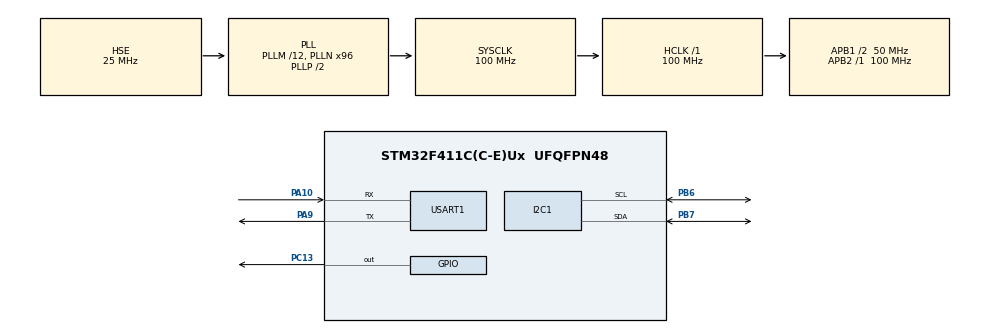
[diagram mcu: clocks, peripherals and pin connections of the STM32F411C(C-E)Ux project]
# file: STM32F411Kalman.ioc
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Dma.Request0=USART1_TX
Dma.USART1_TX.0.Direction=DMA_MEMORY_TO_PERIPH
Dma.USART1_TX.0.FIFOMode=DMA_FIFOMODE_DISABLE
Dma.USART1_TX.0.Instance=DMA2_Stream7
Dma.USART1_TX.0.MemDataAlignment=DMA_MDATAALIGN_BYTE
Dma.USART1_TX.0.MemInc=DMA_MINC_ENABLE
Dma.USART1_TX.0.Mode=DMA_NORMAL
Dma.USART1_TX.0.PeriphDataAlignment=DMA_PDATAALIGN_BYTE
Dma.USART1_TX.0.PeriphInc=DMA_PINC_DISABLE
Dma.USART1_TX.0.Priority=DMA_PRIORITY_LOW
I2C1.I2C_Mode=I2C_Fast
Mcu.Family=STM32F4
Mcu.Name=STM32F411C(C-E)Ux
Mcu.Package=UFQFPN48
NVIC.DMA2_Stream7_IRQn=true\:0\:0\:false\:false\:true\:false\:true\:true
NVIC.PriorityGroup=NVIC_PRIORITYGROUP_4
NVIC.TIM2_IRQn=true\:0\:0\:false\:false\:true\:true\:true\:true
NVIC.USART1_IRQn=true\:0\:0\:false\:false\:true\:false\:true\:true
PA10.Mode=Asynchronous
PA10.Signal=USART1_RX
PA13.Mode=Serial_Wire
PA13.Signal=SYS_JTMS-SWDIO
PA14.Mode=Serial_Wire
PA14.Signal=SYS_JTCK-SWCLK
PA9.Mode=Asynchronous
PA9.Signal=USART1_TX
PB6.Mode=I2C
PB6.Signal=I2C1_SCL
PB7.Mode=I2C
PB7.Signal=I2C1_SDA
PC13-ANTI_TAMP.Signal=GPIO_Output
PH0\ -\ OSC_IN.Mode=HSE-External-Oscillator
PH0\ -\ OSC_IN.Signal=RCC_OSC_IN
PH1\ -\ OSC_OUT.Mode=HSE-External-Oscillator
PH1\ -\ OSC_OUT.Signal=RCC_OSC_OUT
ProjectManager.HeapSize=0x200
ProjectManager.StackSize=0x400
ProjectManager.TargetToolchain=CMake
RCC.48MHZClocksFreq_Value=50000000
RCC.AHBFreq_Value=100000000
RCC.APB1CLKDivider=RCC_HCLK_DIV2
RCC.APB1Freq_Value=50000000
RCC.APB1TimFreq_Value=100000000
RCC.APB2Freq_Value=100000000
RCC.APB2TimFreq_Value=100000000
RCC.CortexFreq_Value=100000000
RCC.HCLKFreq_Value=100000000
RCC.HSE_VALUE=25000000
RCC.HSI_VALUE=16000000
RCC.LSE_VALUE=32768
RCC.PLLM=12
RCC.PLLN=96
RCC.PLLSourceVirtual=RCC_PLLSOURCE_HSE
RCC.SYSCLKFreq_VALUE=100000000
RCC.SYSCLKSource=RCC_SYSCLKSOURCE_PLLCLK
RCC.VCOOutputFreq_Value=200000000
TIM2.Prescaler=99
USART1.VirtualMode=VM_ASYNC
VP_TIM2_VS_ClockSourceINT.Mode=Internal
board=custom

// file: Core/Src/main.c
/* USER CODE BEGIN Header */
/**
  ******************************************************************************
  * @file           : main.c
  * @brief          : STM32F411 + MPU6500 姿態估測(二狀態卡爾曼濾波)
  *
  * 修正版重點(全部改在 USER CODE 區塊內,CubeMX 重新產生不會被覆蓋):
  *   [1] 開機檢查 WHO_AM_I,讀錯就停住並快閃 LED
  *   [2] 感測器重置、改用陀螺儀 PLL 時脈、設定量程與數位低通濾波
  *   [3] 校準只用成功讀到的樣本來平均
  *   [4] 讀取失敗時,累積 dt 到下一次成功,並計數錯誤
  *   [5] 用第一筆加速度計角度初始化濾波器
  *   [6] 創新量與角度包裹在 ±180 度
  *   [7] 用 DWT 週期計數器取得微秒級 dt,並量測濾波執行時間
  *   [8] UART 輸出 CSV(整數 milli 單位,不需要浮點 printf)
  *   [9] LED 心跳改用獨立時間戳
  ******************************************************************************
  */
/* USER CODE END Header */
#include "main.h"
#include "dma.h"
#include "i2c.h"
#include "tim.h"
#include "usart.h"
#include "gpio.h"

/* USER CODE BEGIN Includes */
#include <stdio.h>
#include <string.h>
#include <math.h>
#include <stdint.h>
#include <stdbool.h>
/* USER CODE END Includes */

/* USER CODE BEGIN PTD */
typedef struct {
    float angle;      // 估測角度 (deg)
    float bias;       // 估測的陀螺儀零偏 (deg/s)
    float rate;       // 扣除零偏後的角速度 (deg/s)
    float P[2][2];    // 估測誤差協方差
    float Q_angle;    // 角度過程雜訊
    float Q_bias;     // 零偏過程雜訊
    float R_measure;  // 加速度計角度量測雜訊 (deg^2)
} Kalman_t;

typedef struct {
    int16_t ax, ay, az;
    int16_t gx, gy, gz;
} MPU_Raw_t;
/* USER CODE END PTD */

/* USER CODE BEGIN PD */
#define MPU_ADDR               (0x68 << 1)
#define MPU_REG_SMPLRT_DIV     0x19
#define MPU_REG_CONFIG         0x1A
#define MPU_REG_GYRO_CONFIG    0x1B
#define MPU_REG_ACCEL_CONFIG   0x1C
#define MPU_REG_ACCEL_CONFIG2  0x1D
#define MPU_REG_ACCEL_XOUT_H   0x3B
#define MPU_REG_PWR_MGMT_1     0x6B
#define MPU_REG_WHO_AM_I       0x75
#define MPU6500_WHO_AM_I_VAL   0x70   // 依 datasheet,MPU6500 回傳 0x70

#define RAD_TO_DEG             57.2957795f
#define GYRO_LSB_PER_DPS       131.0f  // ±250 dps 量程
#define LOOP_PERIOD_MS         20      // 50 Hz
#define CALIB_SAMPLES          200
/* USER CODE END PD */

/* USER CODE BEGIN PV */
static char tx_buf[160];

static Kalman_t kalmanRoll;
static Kalman_t kalmanPitch;

static float gyro_x_offset = 0.0f;   // raw LSB
static float gyro_y_offset = 0.0f;
static float acc_roll_offset = 0.0f; // deg
static float acc_pitch_offset = 0.0f;

static uint32_t i2c_errors = 0;
/* USER CODE END PV */

void SystemClock_Config(void);

/* USER CODE BEGIN 0 */

/* ---------- 小工具 ---------- */
static float wrap180(float a)                       // [6]
{
    while (a > 180.0f)  a -= 360.0f;
    while (a < -180.0f) a += 360.0f;
    return a;
}

static void UART_Print(const char *s)
{
    HAL_UART_Transmit(&huart1, (uint8_t *)s, (uint16_t)strlen(s), 100);
}

static long to_milli(float x)                       // [8] 浮點轉整數 milli 單位
{
    return (long)lroundf(x * 1000.0f);
}

static void DWT_Init(void)                          // [7]
{
    CoreDebug->DEMCR |= CoreDebug_DEMCR_TRCENA_Msk;
    DWT->CYCCNT = 0;
    DWT->CTRL |= DWT_CTRL_CYCCNTENA_Msk;
}

/* ---------- 卡爾曼濾波 ---------- */
void Kalman_Init(Kalman_t *k, float angle0)         // [5]
{
    k->angle = angle0;
    k->bias = 0.0f;
    k->rate = 0.0f;
    k->P[0][0] = 0.0f; k->P[0][1] = 0.0f;
    k->P[1][0] = 0.0f; k->P[1][1] = 0.0f;
    k->Q_angle = 0.001f;
    k->Q_bias = 0.00003f;  // 參數實驗後由 0.003 調降,見 README
    k->R_measure = 0.030f;   // 之後改成靜置量測到的變異數
}

float Kalman_GetAngle(Kalman_t *k, float newAngle, float newRate, float dt)
{
    // 步驟 1:狀態預測
    k->rate = newRate - k->bias;
    k->angle += dt * k->rate;

    // 步驟 2:協方差預測 P = F P F^T + Q
    k->P[0][0] += dt * (dt * k->P[1][1] - k->P[0][1] - k->P[1][0] + k->Q_angle);
    k->P[0][1] -= dt * k->P[1][1];
    k->P[1][0] -= dt * k->P[1][1];
    k->P[1][1] += k->Q_bias * dt;

    // 步驟 3:卡爾曼增益
    float S = k->P[0][0] + k->R_measure;
    float K0 = k->P[0][0] / S;
    float K1 = k->P[1][0] / S;

    // 步驟 4:狀態更新(創新量包裹在 ±180,避免翻越 180 度時跳變) [6]
    float y = wrap180(newAngle - k->angle);
    k->angle = wrap180(k->angle + K0 * y);
    k->bias += K1 * y;

    // 步驟 5:協方差更新 P = (I - K H) P
    float P00 = k->P[0][0];
    float P01 = k->P[0][1];
    k->P[0][0] -= K0 * P00;
    k->P[0][1] -= K0 * P01;
    k->P[1][0] -= K1 * P00;
    k->P[1][1] -= K1 * P01;

    return k->angle;
}

/* ---------- MPU6500 ---------- */
static HAL_StatusTypeDef MPU_Write(uint8_t reg, uint8_t val)
{
    return HAL_I2C_Mem_Write(&hi2c1, MPU_ADDR, reg, 1, &val, 1, 100);
}

// 回傳 true 表示初始化成功;who 回傳讀到的 WHO_AM_I 值   [1][2]
static bool MPU_Init(uint8_t *who)
{
    *who = 0;
    if (HAL_I2C_Mem_Read(&hi2c1, MPU_ADDR, MPU_REG_WHO_AM_I, 1, who, 1, 100) != HAL_OK)
        return false;
    if (*who != MPU6500_WHO_AM_I_VAL)
        return false;

    bool ok = true;
    ok &= MPU_Write(MPU_REG_PWR_MGMT_1, 0x80) == HAL_OK;   // 重置
    HAL_Delay(100);
    ok &= MPU_Write(MPU_REG_PWR_MGMT_1, 0x01) == HAL_OK;   // 喚醒,自動選陀螺儀 PLL 時脈
    HAL_Delay(50);
    ok &= MPU_Write(MPU_REG_SMPLRT_DIV, 4) == HAL_OK;       // 1 kHz / (1+4) = 200 Hz 輸出
    ok &= MPU_Write(MPU_REG_CONFIG, 0x04) == HAL_OK;        // 陀螺儀 DLPF 約 20 Hz(對照 datasheet)
    ok &= MPU_Write(MPU_REG_GYRO_CONFIG, 0x00) == HAL_OK;   // ±250 dps
    ok &= MPU_Write(MPU_REG_ACCEL_CONFIG, 0x00) == HAL_OK;  // ±2 g
    ok &= MPU_Write(MPU_REG_ACCEL_CONFIG2, 0x04) == HAL_OK; // 加速度計 DLPF 約 20 Hz(對照 datasheet)
    HAL_Delay(50);
    return ok;
}

static bool MPU_Read(MPU_Raw_t *r)
{
    uint8_t b[14];
    if (HAL_I2C_Mem_Read(&hi2c1, MPU_ADDR, MPU_REG_ACCEL_XOUT_H, 1, b, 14, 20) != HAL_OK)
        return false;
    r->ax = (int16_t)(b[0] << 8 | b[1]);
    r->ay = (int16_t)(b[2] << 8 | b[3]);
    r->az = (int16_t)(b[4] << 8 | b[5]);
    // b[6], b[7] 是溫度
    r->gx = (int16_t)(b[8] << 8 | b[9]);
    r->gy = (int16_t)(b[10] << 8 | b[11]);
    r->gz = (int16_t)(b[12] << 8 | b[13]);
    return true;
}

static void Acc_Angles(const MPU_Raw_t *r, float *roll, float *pitch)
{
    float ax = r->ax, ay = r->ay, az = r->az;
    *roll  = atan2f(ay, az) * RAD_TO_DEG;
    *pitch = atan2f(-ax, sqrtf(ay * ay + az * az)) * RAD_TO_DEG;
}

// 只用成功讀到的樣本平均   [3]
static bool MPU_Calibrate(void)
{
    float roll_sum = 0, pitch_sum = 0, gx_sum = 0, gy_sum = 0;
    int valid = 0;
    MPU_Raw_t r;

    for (int i = 0; i < CALIB_SAMPLES; i++) {
        if (MPU_Read(&r)) {
            float roll, pitch;
            Acc_Angles(&r, &roll, &pitch);
            roll_sum += roll;
            pitch_sum += pitch;
            gx_sum += r.gx;
            gy_sum += r.gy;
            valid++;
        } else {
            i2c_errors++;
        }
        HAL_Delay(5);
    }
    if (valid < CALIB_SAMPLES / 2)
        return false;

    acc_roll_offset  = roll_sum / valid;
    acc_pitch_offset = pitch_sum / valid;
    gyro_x_offset    = gx_sum / valid;
    gyro_y_offset    = gy_sum / valid;
    return true;
}

// 無法繼續時:快閃 LED,每秒印一次原因
static void Fault_Loop(const char *msg)
{
    uint32_t last = 0;
    while (1) {
        HAL_GPIO_TogglePin(GPIOC, GPIO_PIN_13);
        if (HAL_GetTick() - last >= 1000) {
            UART_Print(msg);
            last = HAL_GetTick();
        }
        HAL_Delay(100);
    }
}
/* USER CODE END 0 */

int main(void)
{

  /* MCU Configuration--------------------------------------------------------*/

  /* Reset of all peripherals, Initializes the Flash interface and the Systick. */
  HAL_Init();

  /* Configure the system clock */
  SystemClock_Config();

  /* Initialize all configured peripherals */
  MX_GPIO_Init();
  MX_DMA_Init();
  MX_TIM2_Init();
  MX_USART1_UART_Init();
  MX_I2C1_Init();
  /* USER CODE BEGIN 2 */
  DWT_Init();
  HAL_Delay(50);

  uint8_t who = 0;
  if (!MPU_Init(&who)) {
      snprintf(tx_buf, sizeof(tx_buf), "# ERROR: MPU init failed, WHO_AM_I=0x%02X\r\n", who);
      Fault_Loop(tx_buf);
  }

  UART_Print("# calibrating, keep the board still...\r\n");
  if (!MPU_Calibrate()) {
      Fault_Loop("# ERROR: calibration failed (too many I2C errors)\r\n");
  }

  // 用第一筆加速度計角度初始化濾波器   [5]
  MPU_Raw_t raw;
  float roll0 = 0.0f, pitch0 = 0.0f;
  if (MPU_Read(&raw)) {
      Acc_Angles(&raw, &roll0, &pitch0);
      roll0 -= acc_roll_offset;
      pitch0 -= acc_pitch_offset;
  }
  Kalman_Init(&kalmanRoll, roll0);
  Kalman_Init(&kalmanPitch, pitch0);

  snprintf(tx_buf, sizeof(tx_buf), "# WHO_AM_I=0x%02X clk=%lu\r\n", who, (unsigned long)SystemCoreClock);
  UART_Print(tx_buf);
  UART_Print("t_ms,gx_mdps,gy_mdps,acc_roll_mdeg,acc_pitch_mdeg,kf_roll_mdeg,kf_pitch_mdeg,kf_ns,i2c_err\r\n");

  uint32_t last_tick = HAL_GetTick();
  uint32_t last_led  = last_tick;
  uint32_t last_cyc  = DWT->CYCCNT;
  float pending_dt   = 0.0f;
  /* USER CODE END 2 */

  /* Infinite loop */
  /* USER CODE BEGIN WHILE */
  while (1)
  {
    uint32_t now = HAL_GetTick();

    if (now - last_tick >= LOOP_PERIOD_MS) {
      last_tick = now;

      // dt 用 DWT 週期計數,解析度遠高於 1 ms   [7]
      uint32_t cyc = DWT->CYCCNT;
      pending_dt += (float)(cyc - last_cyc) / (float)SystemCoreClock;
      last_cyc = cyc;

      if (MPU_Read(&raw)) {
        float gx_rate = (raw.gx - gyro_x_offset) / GYRO_LSB_PER_DPS;
        float gy_rate = (raw.gy - gyro_y_offset) / GYRO_LSB_PER_DPS;
        float acc_roll, acc_pitch;
        Acc_Angles(&raw, &acc_roll, &acc_pitch);
        acc_roll  -= acc_roll_offset;
        acc_pitch -= acc_pitch_offset;

        // 量測兩次濾波共花多少時間   [7]
        uint32_t t0 = DWT->CYCCNT;
        float roll  = Kalman_GetAngle(&kalmanRoll,  acc_roll,  gx_rate, pending_dt);
        float pitch = Kalman_GetAngle(&kalmanPitch, acc_pitch, gy_rate, pending_dt);
        uint32_t kf_cycles = DWT->CYCCNT - t0;
        uint32_t kf_ns = (uint32_t)((uint64_t)kf_cycles * 1000000000ULL / SystemCoreClock);

        pending_dt = 0.0f;   // [4] 成功才歸零;失敗時保留,累積到下一次

        int len = snprintf(tx_buf, sizeof(tx_buf), "%lu,%ld,%ld,%ld,%ld,%ld,%ld,%lu,%lu\r\n",
                           (unsigned long)now,
                           to_milli(gx_rate), to_milli(gy_rate),
                           to_milli(acc_roll), to_milli(acc_pitch),
                           to_milli(roll), to_milli(pitch),
                           (unsigned long)kf_ns, (unsigned long)i2c_errors);
        HAL_UART_Transmit(&huart1, (uint8_t *)tx_buf, (uint16_t)len, 50);
      } else {
        i2c_errors++;   // [4]
      }
    }

    // LED 心跳:獨立時間戳,每 500 ms 翻轉一次   [9]
    if (now - last_led >= 500) {
      HAL_GPIO_TogglePin(GPIOC, GPIO_PIN_13);
      last_led = now;
    }
    /* USER CODE END WHILE */

  }
}

void SystemClock_Config(void)
{
  RCC_OscInitTypeDef RCC_OscInitStruct = {0};
  RCC_ClkInitTypeDef RCC_ClkInitStruct = {0};

  /** Configure the main internal regulator output voltage
  */
  __HAL_RCC_PWR_CLK_ENABLE();
  __HAL_PWR_VOLTAGESCALING_CONFIG(PWR_REGULATOR_VOLTAGE_SCALE1);

  /** Initializes the RCC Oscillators according to the specified parameters
  * in the RCC_OscInitTypeDef structure.
  */
  RCC_OscInitStruct.OscillatorType = RCC_OSCILLATORTYPE_HSE;
  RCC_OscInitStruct.HSEState = RCC_HSE_ON;
  RCC_OscInitStruct.PLL.PLLState = RCC_PLL_ON;
  RCC_OscInitStruct.PLL.PLLSource = RCC_PLLSOURCE_HSE;
  RCC_OscInitStruct.PLL.PLLM = 12;
  RCC_OscInitStruct.PLL.PLLN = 96;
  RCC_OscInitStruct.PLL.PLLP = RCC_PLLP_DIV2;
  RCC_OscInitStruct.PLL.PLLQ = 4;
  if (HAL_RCC_OscConfig(&RCC_OscInitStruct) != HAL_OK)
  {
    Error_Handler();
  }

  /** Initializes the CPU, AHB and APB buses clocks
  */
  RCC_ClkInitStruct.ClockType = RCC_CLOCKTYPE_HCLK|RCC_CLOCKTYPE_SYSCLK
                              |RCC_CLOCKTYPE_PCLK1|RCC_CLOCKTYPE_PCLK2;
  RCC_ClkInitStruct.SYSCLKSource = RCC_SYSCLKSOURCE_PLLCLK;
  RCC_ClkInitStruct.AHBCLKDivider = RCC_SYSCLK_DIV1;
  RCC_ClkInitStruct.APB1CLKDivider = RCC_HCLK_DIV2;
  RCC_ClkInitStruct.APB2CLKDivider = RCC_HCLK_DIV1;

  if (HAL_RCC_ClockConfig(&RCC_ClkInitStruct, FLASH_LATENCY_3) != HAL_OK)
  {
    Error_Handler();
  }
}

/* USER CODE BEGIN 4 */
void HAL_TIM_PeriodElapsedCallback(TIM_HandleTypeDef *htim) {
  if (htim->Instance == TIM2) {
    // 之後改成計時器中斷驅動的固定週期時使用
  }
}
/* USER CODE END 4 */

void Error_Handler(void)
{
  __disable_irq();
  while (1)
  {
  }
}
